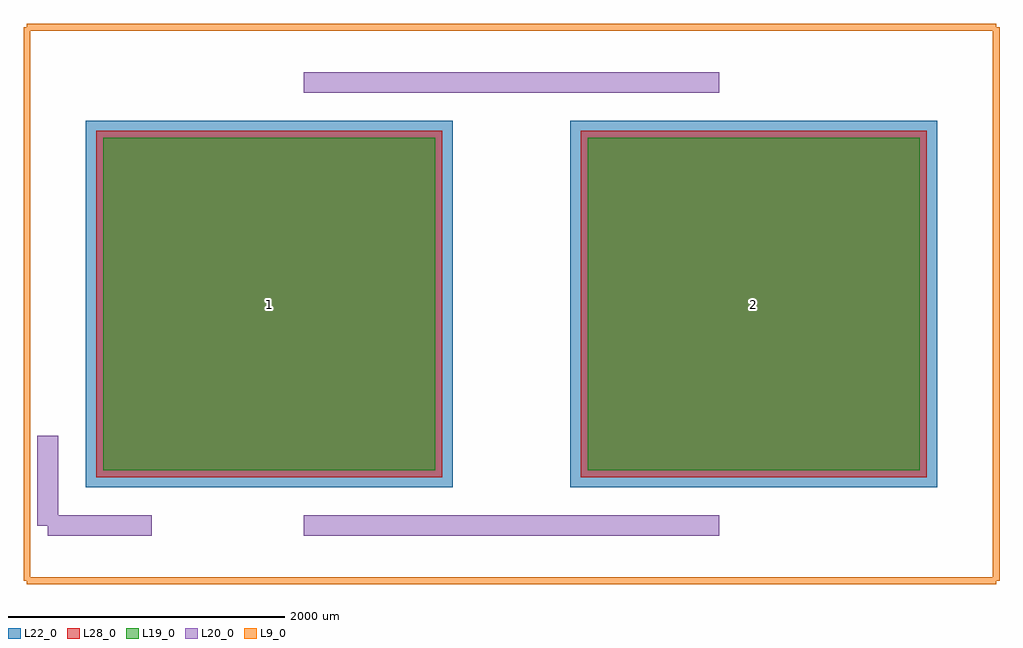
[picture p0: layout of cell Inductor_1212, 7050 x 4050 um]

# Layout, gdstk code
import gdstk
lib = gdstk.Library(unit=1e-6, precision=1e-09)
def R(c, l, rs):  # rectangles x0, y0, x1, y1
    for r in rs: c.add(gdstk.rectangle(r[:2], r[2:], *l))
L9_0 = (9, 0)
L19_0 = (19, 0)
L20_0 = (20, 0)
L22_0 = (22, 0)
L28_0 = (28, 0)

inductor_1212 = lib.new_cell('Inductor_1212')
R(inductor_1212, L19_0, [(-2950,-1200,-550,1200), (550,-1200,2950,1200)])
R(inductor_1212, L22_0, [(-3075,-1325,-425,1325), (425,-1325,3075,1325)])
R(inductor_1212, L28_0, [(-3000,-1250,-500,1250), (500,-1250,3000,1250)])
inductor_1212.add(gdstk.FlexPath([(-1500,1600),(1500,1600)], 149.998, ends="flush", simple_path=True, layer=20, datatype=0))  # L20_0
inductor_1212.add(gdstk.FlexPath([(1500,-1600),(-1500,-1600)], 149.998, ends="flush", simple_path=True, layer=20, datatype=0))  # L20_0
inductor_1212.add(gdstk.FlexPath([(-3500,2000),(3500,2000)], 50, ends="flush", simple_path=True, layer=9, datatype=0))  # L9_0
inductor_1212.add(gdstk.FlexPath([(3500,2000),(3500,-2000)], 50, ends="flush", simple_path=True, layer=9, datatype=0))  # L9_0
inductor_1212.add(gdstk.FlexPath([(3500,-2000),(-3500,-2000)], 50, ends="flush", simple_path=True, layer=9, datatype=0))  # L9_0
inductor_1212.add(gdstk.FlexPath([(-3500,-2000),(-3500,2000)], 50, ends="flush", simple_path=True, layer=9, datatype=0))  # L9_0
inductor_1212.add(gdstk.FlexPath([(-2600,-1600),(-3350,-1600)], 149.998, ends="flush", simple_path=True, layer=20, datatype=0))  # L20_0
inductor_1212.add(gdstk.FlexPath([(-3350,-1600),(-3350,-950)], 149.998, ends="flush", simple_path=True, layer=20, datatype=0))  # L20_0
inductor_1212.add(gdstk.Label('2', (1750,0), layer=28, texttype=0))
inductor_1212.add(gdstk.Label('1', (-1750,0), layer=28, texttype=0))
inductor_1212.add(gdstk.Label('type', (0,2750), layer=9, texttype=0))
inductor_1212.add(gdstk.Label('devicename', (0,-2750), layer=9, texttype=0))

lib.write_gds('Inductor_1212.gds')
